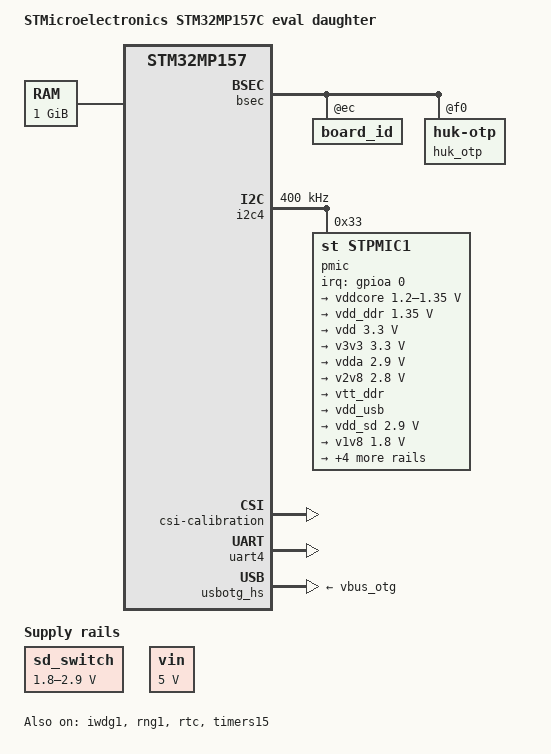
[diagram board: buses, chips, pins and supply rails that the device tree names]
// SPDX-License-Identifier: (GPL-2.0+ OR BSD-3-Clause)
/*
 * Copyright (C) STMicroelectronics 2019-2022 - All Rights Reserved
 * Author: Alexandre Torgue <alexandre.torgue@st.com> for STMicroelectronics.
 */

/dts-v1/;

#include <dt-bindings/clock/stm32mp1-clksrc.h>
#include <dt-bindings/mfd/st,stpmic1.h>
#include <dt-bindings/power/stm32mp1-power.h>
#include <dt-bindings/soc/stm32mp-provisioning.h>
#include <dt-bindings/soc/stm32mp15-etzpc.h>

#include "stm32mp157.dtsi"
#include "stm32mp15xc.dtsi"
#include "stm32mp15-pinctrl.dtsi"
#include "stm32mp15xxaa-pinctrl.dtsi"

/ {
	model = "STMicroelectronics STM32MP157C eval daughter";
	compatible = "st,stm32mp157c-ed1", "st,stm32mp157";

	chosen {
		stdout-path = "serial0:115200n8";
	};

	memory@c0000000 {
		device_type = "memory";
		reg = <0xC0000000 0x40000000>;
	};

	reserved-memory {
		#address-cells = <1>;
		#size-cells = <1>;
		ranges;

		mcusram1: mcuram@10000000 {
			compatible = "shared-dma-pool";
			reg = <0x10000000 0x20000>;
			no-map;
		};

		mcusram2: mcuram@10020000 {
			compatible = "shared-dma-pool";
			reg = <0x10020000 0x20000>;
			no-map;
		};

		mcusram3: mcuram@10040000 {
			compatible = "shared-dma-pool";
			reg = <0x10040000 0x10000>;
			no-map;
		};

		retram: retram@38000000 {
			compatible = "shared-dma-pool";
			reg = <0x38000000 0x10000>;
			no-map;
		};

		gpu_reserved: gpu@e8000000 {
			reg = <0xe8000000 0x8000000>;
			no-map;
		};
	};

	shadow-prov {
		compatible = "st,provisioning";
		hw2_prov {
			nvmem-cells = <&hw2_otp>;
			st,shadow-value = <0x000001E0>;
			st,shadow-lock = <STICKY_LOCK_SR>;
		};
	};

	aliases {
		serial0 = &uart4;
	};

	sd_switch: regulator-sd_switch {
		compatible = "regulator-gpio";
		regulator-name = "sd_switch";
		regulator-min-microvolt = <1800000>;
		regulator-max-microvolt = <2900000>;
		regulator-type = "voltage";
		regulator-always-on;

		gpios = <&gpiof 14 GPIO_ACTIVE_HIGH>;
		gpios-states = <0>;
		states = <1800000 0x1>,
			 <2900000 0x0>;
	};

	vin: vin {
		compatible = "regulator-fixed";
		regulator-name = "vin";
		regulator-min-microvolt = <5000000>;
		regulator-max-microvolt = <5000000>;
		regulator-always-on;
	};
};

&adc {
	/* ANA0, ANA1 are dedicated pins and don't need pinctrl: only in6. */
	pinctrl-0 = <&adc1_in6_pins_a>;
	pinctrl-names = "default";
	vdd-supply = <&vdd>;
	vdda-supply = <&vdda>;
	vref-supply = <&vdda>;
	status = "disabled";
	adc1: adc@0 {
		st,adc-channels = <0 1 6>;
		/* 16.5 ck_cycles sampling time */
		st,min-sample-time-nsecs = <400>;
		status = "disabled";
	};
};

&bsec {
	board_id: board_id@ec {
		reg = <0xec 0x4>;
		st,non-secure-otp;
	};

	huk_otp: huk-otp@f0 {
		reg = <0xf0 0x10>;
	};
};

&clk_hse {
	st,digbypass;
};

&cpu0{
	cpu-supply = <&vddcore>;
};

&cpu1{
	cpu-supply = <&vddcore>;
};

&crc1 {
	status = "disabled";
};

&dac {
	pinctrl-names = "default";
	pinctrl-0 = <&dac_ch1_pins_a &dac_ch2_pins_a>;
	vref-supply = <&vdda>;
	status = "disabled";
	dac1: dac@1 {
		status = "disabled";
	};
	dac2: dac@2 {
		status = "disabled";
	};
};

&dts {
	status = "disabled";
};

&etzpc {
	st,decprot = <
		DECPROT(STM32MP1_ETZPC_USART1_ID, DECPROT_NS_RW, DECPROT_UNLOCK)
		DECPROT(STM32MP1_ETZPC_SPI6_ID, DECPROT_NS_RW, DECPROT_UNLOCK)
		DECPROT(STM32MP1_ETZPC_I2C4_ID, DECPROT_NS_RW, DECPROT_UNLOCK)
		DECPROT(STM32MP1_ETZPC_I2C6_ID, DECPROT_NS_RW, DECPROT_UNLOCK)
		DECPROT(STM32MP1_ETZPC_RNG1_ID, DECPROT_S_RW, DECPROT_UNLOCK)
		DECPROT(STM32MP1_ETZPC_HASH1_ID, DECPROT_NS_RW, DECPROT_UNLOCK)
		DECPROT(STM32MP1_ETZPC_CRYP1_ID, DECPROT_NS_RW, DECPROT_UNLOCK)
		DECPROT(STM32MP1_ETZPC_DDRCTRL_ID, DECPROT_NS_R_S_W, DECPROT_LOCK)
		DECPROT(STM32MP1_ETZPC_DDRPHYC_ID, DECPROT_NS_R_S_W, DECPROT_LOCK)
		DECPROT(STM32MP1_ETZPC_STGENC_ID, DECPROT_S_RW, DECPROT_LOCK)
		DECPROT(STM32MP1_ETZPC_BKPSRAM_ID, DECPROT_S_RW, DECPROT_LOCK)
		DECPROT(STM32MP1_ETZPC_IWDG1_ID, DECPROT_S_RW, DECPROT_LOCK)
	>;
};

&gpu {
	contiguous-area = <&gpu_reserved>;
};

&hash1 {
	status = "disabled";
};

&i2c4 {
	compatible = "st,stm32mp15-i2c-non-secure";
	pinctrl-names = "default", "sleep";
	pinctrl-0 = <&i2c4_pins_a>;
	pinctrl-1 = <&i2c4_sleep_pins_a>;
	i2c-scl-rising-time-ns = <185>;
	i2c-scl-falling-time-ns = <20>;
	clock-frequency = <400000>;
	status = "okay";
	/* spare dmas for other usage */
	/delete-property/dmas;
	/delete-property/dma-names;

	pmic: stpmic@33 {
		compatible = "st,stpmic1";
		reg = <0x33>;
		interrupts-extended = <&gpioa 0 IRQ_TYPE_EDGE_FALLING>;
		interrupt-controller;
		#interrupt-cells = <2>;
		status = "okay";

		regulators {
			compatible = "st,stpmic1-regulators";
			buck1-supply = <&vin>;
			buck2-supply = <&vin>;
			buck3-supply = <&vin>;
			buck4-supply = <&vin>;
			ldo1-supply = <&v3v3>;
			ldo2-supply = <&v3v3>;
			ldo3-supply = <&vdd_ddr>;
			ldo4-supply = <&vin>;
			ldo5-supply = <&v3v3>;
			ldo6-supply = <&v3v3>;
			vref_ddr-supply = <&vin>;
			boost-supply = <&vin>;
			pwr_sw1-supply = <&bst_out>;
			pwr_sw2-supply = <&bst_out>;

			vddcore: buck1 {
				regulator-name = "vddcore";
				regulator-min-microvolt = <1200000>;
				regulator-max-microvolt = <1350000>;
				regulator-always-on;
				regulator-initial-mode = <0>;
				regulator-over-current-protection;
			};

			vdd_ddr: buck2 {
				regulator-name = "vdd_ddr";
				regulator-min-microvolt = <1350000>;
				regulator-max-microvolt = <1350000>;
				regulator-always-on;
				regulator-initial-mode = <0>;
				regulator-over-current-protection;
			};

			vdd: buck3 {
				regulator-name = "vdd";
				regulator-min-microvolt = <3300000>;
				regulator-max-microvolt = <3300000>;
				regulator-always-on;
				st,mask-reset;
				regulator-initial-mode = <0>;
				regulator-over-current-protection;
			};

			v3v3: buck4 {
				regulator-name = "v3v3";
				regulator-min-microvolt = <3300000>;
				regulator-max-microvolt = <3300000>;
				regulator-always-on;
				regulator-over-current-protection;
				regulator-initial-mode = <0>;
			};

			vdda: ldo1 {
				regulator-name = "vdda";
				regulator-min-microvolt = <2900000>;
				regulator-max-microvolt = <2900000>;
				interrupts = <IT_CURLIM_LDO1 0>;
			};

			v2v8: ldo2 {
				regulator-name = "v2v8";
				regulator-min-microvolt = <2800000>;
				regulator-max-microvolt = <2800000>;
				interrupts = <IT_CURLIM_LDO2 0>;
			};

			vtt_ddr: ldo3 {
				regulator-name = "vtt_ddr";
				regulator-always-on;
				regulator-over-current-protection;
				st,regulator-sink-source;
			};

			vdd_usb: ldo4 {
				regulator-name = "vdd_usb";
				interrupts = <IT_CURLIM_LDO4 0>;
			};

			vdd_sd: ldo5 {
				regulator-name = "vdd_sd";
				regulator-min-microvolt = <2900000>;
				regulator-max-microvolt = <2900000>;
				interrupts = <IT_CURLIM_LDO5 0>;
				regulator-boot-on;
			};

			v1v8: ldo6 {
				regulator-name = "v1v8";
				regulator-min-microvolt = <1800000>;
				regulator-max-microvolt = <1800000>;
				interrupts = <IT_CURLIM_LDO6 0>;
			};

			vref_ddr: vref_ddr {
				regulator-name = "vref_ddr";
				regulator-always-on;
				regulator-over-current-protection;
			};

			bst_out: boost {
				regulator-name = "bst_out";
				interrupts = <IT_OCP_BOOST 0>;
			};

			vbus_otg: pwr_sw1 {
				regulator-name = "vbus_otg";
				interrupts = <IT_OCP_OTG 0>;
			 };

			 vbus_sw: pwr_sw2 {
				regulator-name = "vbus_sw";
				interrupts = <IT_OCP_SWOUT 0>;
				regulator-active-discharge = <1>;
			 };
		};

		onkey {
			compatible = "st,stpmic1-onkey";
			interrupts = <IT_PONKEY_F 0>, <IT_PONKEY_R 0>;
			interrupt-names = "onkey-falling", "onkey-rising";
			power-off-time-sec = <10>;
			status = "disabled";
		};

		watchdog {
			compatible = "st,stpmic1-wdt";
			status = "disabled";
		};
	};
};

&ipcc {
	status = "disabled";
};

&iwdg1 {
	timeout-sec = <32>;
	status = "okay";
};

&iwdg2 {
	timeout-sec = <32>;
	status = "disabled";
};

&m4_rproc {
	memory-region = <&retram>, <&mcusram1>, <&mcusram2>, <&mcusram3>;
	mboxes = <&ipcc 0>, <&ipcc 1>, <&ipcc 2>, <&ipcc 3>;
	mbox-names = "vq0", "vq1", "shutdown", "detach";
	interrupt-parent = <&exti>;
	interrupts = <68 1>;
	status = "disabled";
};

&osc_calibration {
	csi-calibration {
		status = "okay";
	};

	hsi-calibration {
		status = "okay";
	};
};

&pwr_regulators {
	system_suspend_supported_soc_modes = <
		STM32_PM_CSLEEP_RUN
		STM32_PM_CSTOP_ALLOW_LP_STOP
		STM32_PM_CSTOP_ALLOW_LPLV_STOP
		STM32_PM_CSTOP_ALLOW_STANDBY_DDR_SR
	>;
	system_off_soc_mode = <STM32_PM_CSTOP_ALLOW_STANDBY_DDR_OFF>;
	vdd-supply = <&vdd>;
	vdd_3v3_usbfs-supply = <&vdd_usb>;
};

&rcc {
	st,clksrc = <
		CLK_MPU_PLL1P
		CLK_AXI_PLL2P
		CLK_MCU_PLL3P
		CLK_RTC_LSE
		CLK_MCO1_DISABLED
		CLK_MCO2_DISABLED
		CLK_CKPER_HSE
		CLK_FMC_ACLK
		CLK_QSPI_ACLK
		CLK_ETH_PLL4P
		CLK_SDMMC12_PLL4P
		CLK_DSI_DSIPLL
		CLK_STGEN_HSE
		CLK_USBPHY_HSE
		CLK_SPI2S1_PLL3Q
		CLK_SPI2S23_PLL3Q
		CLK_SPI45_HSI
		CLK_SPI6_HSI
		CLK_I2C46_HSI
		CLK_SDMMC3_PLL4P
		CLK_USBO_USBPHY
		CLK_ADC_CKPER
		CLK_CEC_LSE
		CLK_I2C12_HSI
		CLK_I2C35_HSI
		CLK_UART1_HSI
		CLK_UART24_HSI
		CLK_UART35_HSI
		CLK_UART6_HSI
		CLK_UART78_HSI
		CLK_SPDIF_PLL4P
		CLK_FDCAN_PLL4R
		CLK_SAI1_PLL3Q
		CLK_SAI2_PLL3Q
		CLK_SAI3_PLL3Q
		CLK_SAI4_PLL3Q
		CLK_RNG1_CSI
		CLK_RNG2_LSI
		CLK_LPTIM1_PCLK1
		CLK_LPTIM23_PCLK3
		CLK_LPTIM45_LSE
	>;

	st,clkdiv = <
		DIV(DIV_MPU, 1)
		DIV(DIV_AXI, 0)
		DIV(DIV_MCU, 0)
		DIV(DIV_APB1, 1)
		DIV(DIV_APB2, 1)
		DIV(DIV_APB3, 1)
		DIV(DIV_APB4, 1)
		DIV(DIV_APB5, 2)
		DIV(DIV_RTC, 23)
		DIV(DIV_MCO1, 0)
		DIV(DIV_MCO2, 0)
	>;

	st,pll_vco {
		pll2_vco_1066Mhz: pll2-vco-1066Mhz {
			src = <CLK_PLL12_HSE>;
			divmn = <2 65>;
			frac = <0x1400>;
		};

		pll3_vco_417Mhz: pll3-vco-417Mhz {
			src = <CLK_PLL3_HSE>;
			divmn = <1 33>;
			frac = <0x1a04>;
		};

		pll4_vco_594Mhz: pll4-vco-594Mhz {
			src = <CLK_PLL4_HSE>;
			divmn = <3 98>;
		};
	};

	/* VCO = 1066.0 MHz => P = 266 (AXI), Q = 533 (GPU), R = 533 (DDR) */
	pll2: st,pll@1 {
		compatible = "st,stm32mp1-pll";
		reg = <1>;

		st,pll = <&pll2_cfg1>;

		pll2_cfg1: pll2_cfg1 {
			st,pll_vco = <&pll2_vco_1066Mhz>;
			st,pll_div_pqr = <1 0 0>;
		};
	};

	/* VCO = 417.8 MHz => P = 209, Q = 24, R = 11 */
	pll3: st,pll@2 {
		compatible = "st,stm32mp1-pll";
		reg = <2>;

		st,pll = <&pll3_cfg1>;

		pll3_cfg1: pll3_cfg1 {
			st,pll_vco = <&pll3_vco_417Mhz>;
			st,pll_div_pqr = <1 16 36>;
		};
	};

	/* VCO = 594.0 MHz => P = 99, Q = 74, R = 74 */
	pll4: st,pll@3 {
		compatible = "st,stm32mp1-pll";
		reg = <3>;

		st,pll = <&pll4_cfg1>;

		pll4_cfg1: pll4_cfg1 {
			st,pll_vco = <&pll4_vco_594Mhz>;
			st,pll_div_pqr = <5 7 7>;
		};
	};
};

&rng1 {
	status = "okay";
};

&rtc {
	status = "okay";
};

&sdmmc1 {
	pinctrl-names = "default", "opendrain", "sleep";
	pinctrl-0 = <&sdmmc1_b4_pins_a &sdmmc1_dir_pins_a>;
	pinctrl-1 = <&sdmmc1_b4_od_pins_a &sdmmc1_dir_pins_a>;
	pinctrl-2 = <&sdmmc1_b4_sleep_pins_a &sdmmc1_dir_sleep_pins_a>;
	cd-gpios = <&gpiog 1 (GPIO_ACTIVE_LOW | GPIO_PULL_UP)>;
	disable-wp;
	st,sig-dir;
	st,neg-edge;
	st,use-ckin;
	bus-width = <4>;
	vmmc-supply = <&vdd_sd>;
	vqmmc-supply = <&sd_switch>;
	sd-uhs-sdr12;
	sd-uhs-sdr25;
	sd-uhs-sdr50;
	sd-uhs-ddr50;
	status = "disabled";
};

&sdmmc2 {
	pinctrl-names = "default", "opendrain", "sleep";
	pinctrl-0 = <&sdmmc2_b4_pins_a &sdmmc2_d47_pins_a>;
	pinctrl-1 = <&sdmmc2_b4_od_pins_a &sdmmc2_d47_pins_a>;
	pinctrl-2 = <&sdmmc2_b4_sleep_pins_a &sdmmc2_d47_sleep_pins_a>;
	non-removable;
	no-sd;
	no-sdio;
	st,neg-edge;
	bus-width = <8>;
	vmmc-supply = <&v3v3>;
	vqmmc-supply = <&vdd>;
	mmc-ddr-3_3v;
	status = "disabled";
};

&timers6 {
	status = "disabled";
	/* spare dmas for other usage */
	/delete-property/dmas;
	/delete-property/dma-names;
	timer@5 {
		status = "disabled";
	};
};

&timers15 {
	status = "okay";

	counter {
		status = "okay";
	};
};

&uart4 {
	pinctrl-names = "default", "sleep", "idle";
	pinctrl-0 = <&uart4_pins_a>;
	pinctrl-1 = <&uart4_sleep_pins_a>;
	pinctrl-2 = <&uart4_idle_pins_a>;
	/delete-property/dmas;
	/delete-property/dma-names;
	status = "okay";
};

&usbotg_hs {
	vbus-supply = <&vbus_otg>;
};

&usbphyc_port0 {
	phy-supply = <&vdd_usb>;
};

&usbphyc_port1 {
	phy-supply = <&vdd_usb>;
};

/* Low-power states of regulators */
&v1v8 {
	standby-ddr-sr {
		regulator-off-in-suspend;
	};
	standby-ddr-off {
		regulator-off-in-suspend;
	};
};

&v2v8 {
	standby-ddr-sr {
		regulator-off-in-suspend;
	};
	standby-ddr-off {
		regulator-off-in-suspend;
	};
};

&v3v3 {
	standby-ddr-sr {
		regulator-off-in-suspend;
	};
	standby-ddr-off {
		regulator-off-in-suspend;
	};
};

&vdd {
	lp-stop {
		regulator-suspend-microvolt = <3300000>;
		regulator-on-in-suspend;
	};
	lplv-stop {
		regulator-suspend-microvolt = <3300000>;
		regulator-on-in-suspend;
	};
	standby-ddr-sr {
		regulator-suspend-microvolt = <3300000>;
		regulator-on-in-suspend;
	};
	standby-ddr-off {
		regulator-suspend-microvolt = <3300000>;
		regulator-on-in-suspend;
	};
};

&vdda {
	standby-ddr-sr {
		regulator-off-in-suspend;
	};
	standby-ddr-off {
		regulator-off-in-suspend;
	};
};

&vddcore {
	lp-stop {
		regulator-on-in-suspend;
		regulator-suspend-microvolt = <1200000>;
	};
	lplv-stop {
		regulator-on-in-suspend;
		regulator-suspend-microvolt = <900000>;
	};
	standby-ddr-sr {
		regulator-off-in-suspend;
	};
	standby-ddr-off {
		regulator-off-in-suspend;
	};
};

&vdd_ddr {
	lp-stop {
		regulator-suspend-microvolt = <1350000>;
		regulator-on-in-suspend;
	};
	lplv-stop {
		regulator-suspend-microvolt = <1350000>;
		regulator-on-in-suspend;
	};
	standby-ddr-sr {
		regulator-suspend-microvolt = <1350000>;
		regulator-on-in-suspend;
	};
	standby-ddr-off {
		regulator-off-in-suspend;
	};
};

&vdd_sd {
	standby-ddr-sr {
		regulator-off-in-suspend;
	};
	standby-ddr-off {
		regulator-off-in-suspend;
	};
};

&vdd_usb {
	standby-ddr-sr {
		regulator-off-in-suspend;
	};
	standby-ddr-off {
		regulator-off-in-suspend;
	};
};

&vref_ddr {
	lp-stop {
		regulator-on-in-suspend;
	};
	lplv-stop {
		regulator-on-in-suspend;
	};
	standby-ddr-sr {
		regulator-on-in-suspend;
	};
	standby-ddr-off {
		regulator-off-in-suspend;
	};
};

&vtt_ddr {
	lp-stop {
		regulator-off-in-suspend;
	};
	lplv-stop {
		regulator-off-in-suspend;
	};
	standby-ddr-sr {
		regulator-off-in-suspend;
	};
	standby-ddr-off {
		regulator-off-in-suspend;
	};
};
